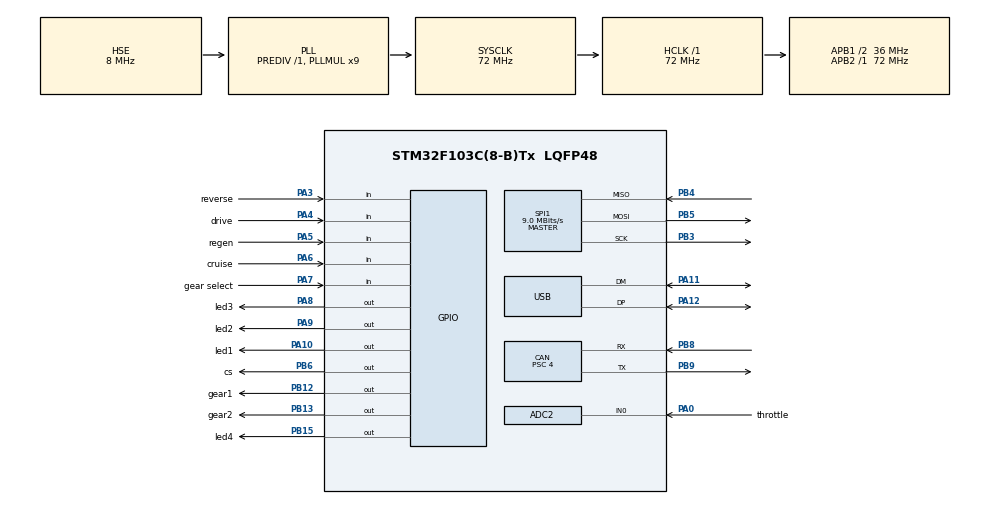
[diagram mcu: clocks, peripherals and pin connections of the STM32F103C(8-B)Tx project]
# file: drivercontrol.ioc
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ADC1.Channel-7\#ChannelRegularConversion=ADC_CHANNEL_TEMPSENSOR
ADC1.EnableRegularConversion=ENABLE
ADC1.NbrOfConversionFlag=1
ADC1.Rank-7\#ChannelRegularConversion=1
ADC1.SamplingTime-7\#ChannelRegularConversion=ADC_SAMPLETIME_71CYCLES_5
ADC1.master=1
ADC2.Channel-4\#ChannelRegularConversion=ADC_CHANNEL_0
ADC2.NbrOfConversionFlag=1
ADC2.Rank-4\#ChannelRegularConversion=1
ADC2.SamplingTime-4\#ChannelRegularConversion=ADC_SAMPLETIME_71CYCLES_5
CAN.BS1=CAN_BS1_13TQ
CAN.BS2=CAN_BS2_2TQ
CAN.CalculateBaudRate=562500
CAN.CalculateTimeBit=1777
CAN.CalculateTimeQuantum=111.11111111111111
CAN.Prescaler=4
Dma.ADC1.1.Direction=DMA_PERIPH_TO_MEMORY
Dma.ADC1.1.Instance=DMA1_Channel1
Dma.ADC1.1.MemDataAlignment=DMA_MDATAALIGN_HALFWORD
Dma.ADC1.1.MemInc=DMA_MINC_ENABLE
Dma.ADC1.1.Mode=DMA_NORMAL
Dma.ADC1.1.PeriphDataAlignment=DMA_PDATAALIGN_HALFWORD
Dma.ADC1.1.PeriphInc=DMA_PINC_DISABLE
Dma.ADC1.1.Priority=DMA_PRIORITY_LOW
Dma.Request0=SPI1_TX
Dma.Request1=ADC1
Dma.SPI1_TX.0.Direction=DMA_MEMORY_TO_PERIPH
Dma.SPI1_TX.0.Instance=DMA1_Channel3
Dma.SPI1_TX.0.MemDataAlignment=DMA_MDATAALIGN_BYTE
Dma.SPI1_TX.0.MemInc=DMA_MINC_ENABLE
Dma.SPI1_TX.0.Mode=DMA_NORMAL
Dma.SPI1_TX.0.PeriphDataAlignment=DMA_PDATAALIGN_BYTE
Dma.SPI1_TX.0.PeriphInc=DMA_PINC_DISABLE
Dma.SPI1_TX.0.Priority=DMA_PRIORITY_LOW
Mcu.Family=STM32F1
Mcu.Name=STM32F103C(8-B)Tx
Mcu.Package=LQFP48
NVIC.DMA1_Channel1_IRQn=true\:0\:0\:false\:false\:true\:false\:true\:true
NVIC.DMA1_Channel3_IRQn=true\:0\:0\:false\:false\:true\:false\:true\:true
NVIC.PriorityGroup=NVIC_PRIORITYGROUP_4
NVIC.USB_HP_CAN1_TX_IRQn=true\:0\:0\:false\:false\:true\:true\:true\:true
NVIC.USB_LP_CAN1_RX0_IRQn=true\:0\:0\:false\:false\:true\:true\:true\:true
PA0-WKUP.GPIO_Label=throttle
PA0-WKUP.Signal=ADCx_IN0
PA10.GPIO_Label=led1
PA10.Signal=GPIO_Output
PA11.Mode=Device
PA11.Signal=USB_DM
PA12.Mode=Device
PA12.Signal=USB_DP
PA13.Mode=Serial_Wire
PA13.Signal=SYS_JTMS-SWDIO
PA14.Mode=Serial_Wire
PA14.Signal=SYS_JTCK-SWCLK
PA3.GPIO_Label=reverse
PA3.GPIO_PuPd=GPIO_PULLUP
PA3.Signal=GPIO_Input
PA4.GPIO_Label=drive
PA4.GPIO_PuPd=GPIO_PULLUP
PA4.Signal=GPIO_Input
PA5.GPIO_Label=regen
PA5.GPIO_PuPd=GPIO_PULLUP
PA5.Signal=GPIO_Input
PA6.GPIO_Label=cruise
PA6.GPIO_PuPd=GPIO_PULLUP
PA6.Signal=GPIO_Input
PA7.GPIO_Label=gear select
PA7.GPIO_PuPd=GPIO_PULLUP
PA7.Signal=GPIO_Input
PA8.GPIO_Label=led3
PA8.Signal=GPIO_Output
PA9.GPIO_Label=led2
PA9.Signal=GPIO_Output
PB12.GPIO_Label=gear1
PB12.Signal=GPIO_Output
PB13.GPIO_Label=gear2
PB13.Signal=GPIO_Output
PB15.GPIO_Label=led4
PB15.Signal=GPIO_Output
PB3.Mode=Full_Duplex_Master
PB3.Signal=SPI1_SCK
PB4.Mode=Full_Duplex_Master
PB4.Signal=SPI1_MISO
PB5.Mode=Full_Duplex_Master
PB5.Signal=SPI1_MOSI
PB6.GPIO_Label=cs
PB6.Signal=GPIO_Output
PB8.Mode=CAN_Activate
PB8.Signal=CAN_RX
PB9.Mode=CAN_Activate
PB9.Signal=CAN_TX
PC14-OSC32_IN.Mode=LSE-External-Oscillator
PC14-OSC32_IN.Signal=RCC_OSC32_IN
PC15-OSC32_OUT.Mode=LSE-External-Oscillator
PC15-OSC32_OUT.Signal=RCC_OSC32_OUT
PD0-OSC_IN.Mode=HSE-External-Oscillator
PD0-OSC_IN.Signal=RCC_OSC_IN
PD1-OSC_OUT.Mode=HSE-External-Oscillator
PD1-OSC_OUT.Signal=RCC_OSC_OUT
ProjectManager.HeapSize=0x200
ProjectManager.StackSize=0x400
ProjectManager.TargetToolchain=EWARM V8.32
RCC.ADCPresc=RCC_ADCPCLK2_DIV6
RCC.AHBFreq_Value=72000000
RCC.APB1CLKDivider=RCC_HCLK_DIV2
RCC.APB1Freq_Value=36000000
RCC.APB1TimFreq_Value=72000000
RCC.APB2Freq_Value=72000000
RCC.APB2TimFreq_Value=72000000
RCC.HCLKFreq_Value=72000000
RCC.PLLMUL=RCC_PLL_MUL9
RCC.PLLSourceVirtual=RCC_PLLSOURCE_HSE
RCC.RTCClockSelection=RCC_RTCCLKSOURCE_LSE
RCC.SYSCLKFreq_VALUE=72000000
RCC.SYSCLKSource=RCC_SYSCLKSOURCE_PLLCLK
RCC.USBFreq_Value=48000000
RCC.USBPrescaler=RCC_USBCLKSOURCE_PLL_DIV1_5
SH.ADCx_IN0.0=ADC2_IN0,IN0
SPI1.BaudRatePrescaler=SPI_BAUDRATEPRESCALER_8
SPI1.CalculateBaudRate=9.0 MBits/s
SPI1.Direction=SPI_DIRECTION_2LINES
SPI1.Mode=SPI_MODE_MASTER
SPI1.VirtualType=VM_MASTER
USB_DEVICE.CLASS_NAME_FS=CDC
USB_DEVICE.VirtualMode=Cdc
USB_DEVICE.VirtualModeFS=Cdc_FS
VP_ADC1_TempSens_Input.Mode=IN-TempSens
VP_FATFS_VS_Generic.Mode=User_defined
VP_RTC_VS_RTC_Activate.Mode=RTC_Enabled
VP_RTC_VS_RTC_Calendar.Mode=RTC_Calendar
VP_USB_DEVICE_VS_USB_DEVICE_CDC_FS.Mode=CDC_FS
board=custom

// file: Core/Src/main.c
/* USER CODE BEGIN Header */
/**
  ******************************************************************************
  * @file           : main.c
  * @brief          : Main program body
  ******************************************************************************
  * @attention
  *
  * Copyright (c) 2025 STMicroelectronics.
  * All rights reserved.
  *
  * This software is licensed under terms that can be found in the LICENSE file
  * in the root directory of this software component.
  * If no LICENSE file comes with this software, it is provided AS-IS.
  *
  ******************************************************************************
  */
/* USER CODE END Header */
#include "main.h"
#include "adc.h"
#include "can.h"
#include "dma.h"
#include "fatfs.h"
#include "rtc.h"
#include "spi.h"
#include "usb_device.h"
#include "gpio.h"

void SystemClock_Config(void);

int main(void)
{

  /* MCU Configuration--------------------------------------------------------*/

  /* Reset of all peripherals, Initializes the Flash interface and the Systick. */
  HAL_Init();

  /* Configure the system clock */
  SystemClock_Config();

  /* Initialize all configured peripherals */
  MX_GPIO_Init();
  MX_DMA_Init();
  MX_ADC1_Init();
  MX_CAN_Init();
  MX_SPI1_Init();
  MX_FATFS_Init();
  MX_USB_DEVICE_Init();
  MX_RTC_Init();
  MX_ADC2_Init();
  /* USER CODE BEGIN 2 */
  /* USER CODE BEGIN 2 */
  uint32_t adc_val = 0;
  float potPercent = 0.0f;
  float alpha = 0.0f;
  float omega = 0.0f;
  static GPIO_PinState last_gear_state = GPIO_PIN_SET;  // assume default is high

  CAN_TxHeaderTypeDef TxHeader;
  uint8_t can_data[8];
  uint32_t TxMailbox;

  TxHeader.StdId = 0x501;
  TxHeader.IDE = CAN_ID_STD;
  TxHeader.RTR = CAN_RTR_DATA;
  TxHeader.DLC = 8;  // 2 floats = 8 bytes

  HAL_CAN_Start(&hcan);
  HAL_CAN_ActivateNotification(&hcan, CAN_IT_TX_MAILBOX_EMPTY);

  /* USER CODE END 2 */

  /* USER CODE END 2 */

  /* Infinite loop */
  /* USER CODE BEGIN WHILE */
  while (1)
  {
      // === 1. Read pedal analog value ===
      HAL_ADC_Start(&hadc1);
      HAL_ADC_PollForConversion(&hadc1, HAL_MAX_DELAY);
      adc_val = HAL_ADC_GetValue(&hadc1);
      HAL_ADC_Stop(&hadc1);

      potPercent = (float)adc_val / 4095.0f;
      if (potPercent < 0.05f) potPercent = 0.0f;

      // === 2. Apply thrust model ===
      alpha = powf(potPercent, 1.75f) * 0.9f;
      if (alpha < 0.01f) alpha = 0.0f;

      // === 3. Read digital GPIOs ===
      GPIO_PinState forward = HAL_GPIO_ReadPin(GPIOB, GPIO_PIN_5);  // change pin as needed
      GPIO_PinState reverse = HAL_GPIO_ReadPin(GPIOB, GPIO_PIN_6);
      GPIO_PinState regen   = HAL_GPIO_ReadPin(GPIOB, GPIO_PIN_7);

      // === Detect gear select state ===
      /*static uint32_t last_shift_time = 0;
      uint32_t now = HAL_GetTick();  // ms

      if ((gear_select != last_gear_state) && (now - last_shift_time > 500)) {
          last_shift_time = now;
          // then perform gear change...
      }*/

      GPIO_PinState gear_select = HAL_GPIO_ReadPin(GPIOB, GPIO_PIN_9);

      if (gear_select != last_gear_state) {
          // === Gear select changed! ===

          // 1. Set alpha and omega to zero
          alpha = 0.0f;
          omega = 0.0f;

          // 2. Send zero-thrust CAN message
          memcpy(&can_data[0], &omega, 4);
          memcpy(&can_data[4], &alpha, 4);
          HAL_CAN_AddTxMessage(&hcan, &TxHeader, can_data, &TxMailbox);

          HAL_Delay(100);  // short delay to allow motor controller to receive

          // 3. Change gear outputs based on new state
          if (gear_select == GPIO_PIN_SET) {
              // Normal state: Gear 1 high, Gear 2 low
              HAL_GPIO_WritePin(GPIOA, GPIO_PIN_10, GPIO_PIN_SET);   // Gear 1 ON
              HAL_GPIO_WritePin(GPIOA, GPIO_PIN_11, GPIO_PIN_RESET); // Gear 2 OFF
          } else {
              // Select state: Gear 1 low, Gear 2 high
              HAL_GPIO_WritePin(GPIOA, GPIO_PIN_10, GPIO_PIN_RESET); // Gear 1 OFF
              HAL_GPIO_WritePin(GPIOA, GPIO_PIN_11, GPIO_PIN_SET);   // Gear 2 ON
          }

          // 4. Update last state
          last_gear_state = gear_select;
      }

      // === 4. Compute omega ===
      if (reverse == GPIO_PIN_RESET) {
          omega = -1000.0f;
      } else if (forward == GPIO_PIN_RESET) {
          omega = 1000.0f;
      } else {
          omega = 0.0f;
      }

      if (regen == GPIO_PIN_RESET) {
          alpha *= 0.4f;
          omega = 0.0f;
      }

      // === 5. Pack and send CAN message ===
      memcpy(&can_data[0], &omega, 4);
      memcpy(&can_data[4], &alpha, 4);
      HAL_CAN_AddTxMessage(&hcan, &TxHeader, can_data, &TxMailbox);

      HAL_Delay(100);
  }
  /* USER CODE END WHILE */

}

void SystemClock_Config(void)
{
  RCC_OscInitTypeDef RCC_OscInitStruct = {0};
  RCC_ClkInitTypeDef RCC_ClkInitStruct = {0};
  RCC_PeriphCLKInitTypeDef PeriphClkInit = {0};

  /** Initializes the RCC Oscillators according to the specified parameters
  * in the RCC_OscInitTypeDef structure.
  */
  RCC_OscInitStruct.OscillatorType = RCC_OSCILLATORTYPE_HSE|RCC_OSCILLATORTYPE_LSE;
  RCC_OscInitStruct.HSEState = RCC_HSE_ON;
  RCC_OscInitStruct.HSEPredivValue = RCC_HSE_PREDIV_DIV1;
  RCC_OscInitStruct.LSEState = RCC_LSE_ON;
  RCC_OscInitStruct.HSIState = RCC_HSI_ON;
  RCC_OscInitStruct.PLL.PLLState = RCC_PLL_ON;
  RCC_OscInitStruct.PLL.PLLSource = RCC_PLLSOURCE_HSE;
  RCC_OscInitStruct.PLL.PLLMUL = RCC_PLL_MUL9;
  if (HAL_RCC_OscConfig(&RCC_OscInitStruct) != HAL_OK)
  {
    Error_Handler();
  }

  /** Initializes the CPU, AHB and APB buses clocks
  */
  RCC_ClkInitStruct.ClockType = RCC_CLOCKTYPE_HCLK|RCC_CLOCKTYPE_SYSCLK
                              |RCC_CLOCKTYPE_PCLK1|RCC_CLOCKTYPE_PCLK2;
  RCC_ClkInitStruct.SYSCLKSource = RCC_SYSCLKSOURCE_PLLCLK;
  RCC_ClkInitStruct.AHBCLKDivider = RCC_SYSCLK_DIV1;
  RCC_ClkInitStruct.APB1CLKDivider = RCC_HCLK_DIV2;
  RCC_ClkInitStruct.APB2CLKDivider = RCC_HCLK_DIV1;

  if (HAL_RCC_ClockConfig(&RCC_ClkInitStruct, FLASH_LATENCY_2) != HAL_OK)
  {
    Error_Handler();
  }
  PeriphClkInit.PeriphClockSelection = RCC_PERIPHCLK_RTC|RCC_PERIPHCLK_ADC
                              |RCC_PERIPHCLK_USB;
  PeriphClkInit.RTCClockSelection = RCC_RTCCLKSOURCE_LSE;
  PeriphClkInit.AdcClockSelection = RCC_ADCPCLK2_DIV6;
  PeriphClkInit.UsbClockSelection = RCC_USBCLKSOURCE_PLL_DIV1_5;
  if (HAL_RCCEx_PeriphCLKConfig(&PeriphClkInit) != HAL_OK)
  {
    Error_Handler();
  }
}

void Error_Handler(void)
{
  __disable_irq();
  while (1)
  {
  }
}
